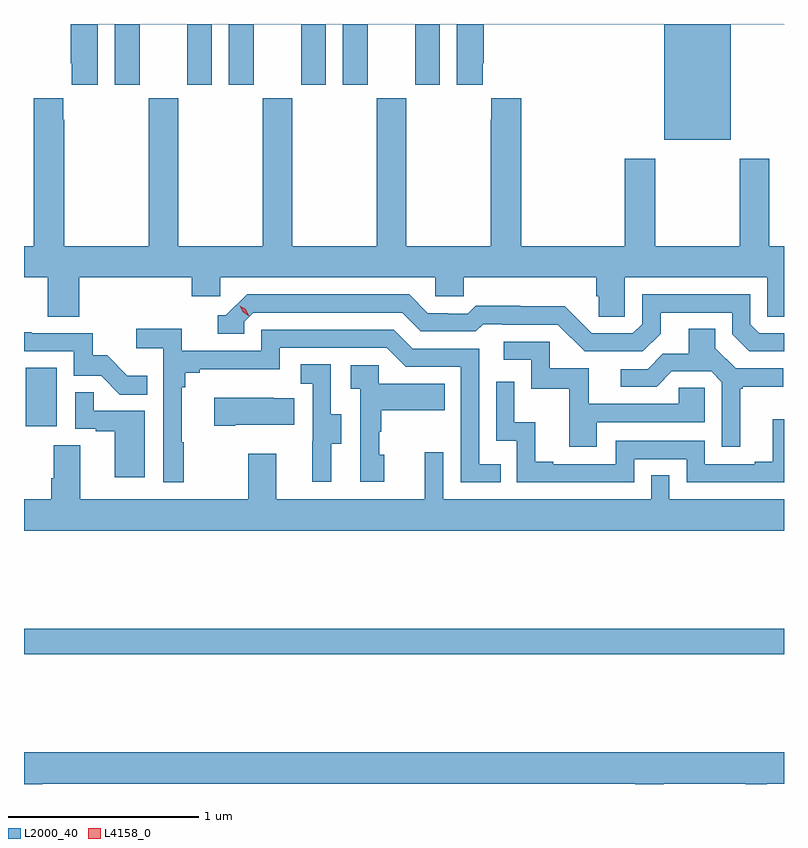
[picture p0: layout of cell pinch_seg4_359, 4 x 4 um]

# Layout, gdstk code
import gdstk
lib = gdstk.Library(unit=1e-6, precision=1e-09)
def R(c, l, rs):  # rectangles x0, y0, x1, y1
    for r in rs: c.add(gdstk.rectangle(r[:2], r[2:], *l))
def P(c, l, *ps):  # polygons
    for p in ps: c.add(gdstk.Polygon(p, *l))
L2000_40 = (2000, 40)
L4158_0 = (4158, 0)

pinch_seg4_359 = lib.new_cell('pinch_seg4_359')
R(pinch_seg4_359, L2000_40, [(975.833,792.172,979.833,792.308), (975.842,793.374,976.006,793.681)])
P(pinch_seg4_359, L2000_40, [(975.833,795.488),(976.079,795.488),(976.079,795.283),(976.085,795.283),(976.085,795.171),(976.222,795.171),(976.222,795.488),(976.31,795.488),(976.31,795.171),(976.441,795.171),(976.441,795.488),(976.691,795.488),(976.691,795.171),(976.822,795.171),(976.822,795.488),(976.91,795.488),(976.91,795.171),(977.041,795.171),(977.041,795.488),(977.291,795.488),(977.291,795.171),(977.422,795.171),(977.422,795.488),(977.51,795.488),(977.51,795.171),(977.641,795.171),(977.641,795.488),(977.891,795.488),(977.891,795.171),(978.022,795.171),(978.022,795.488),(978.11,795.488),(978.11,795.171),(978.247,795.171),(978.247,795.283),(978.254,795.283),(978.254,795.488),(979.202,795.488),(979.202,794.882),(979.552,794.882),(979.552,795.488),(979.833,795.488),(979.833,795.49),(975.833,795.49)],
  [(976.124,794.156),(976.715,794.156),(976.715,794.058),(976.866,794.058),(976.866,794.156),(977.997,794.156),(977.997,794.058),(978.147,794.058),(978.147,794.156),(978.845,794.156),(978.845,794.058),(978.859,794.058),(978.859,793.948),(978.996,793.948),(978.996,794.156),(979.746,794.156),(979.746,793.948),(979.833,793.948),(979.833,794.32),(979.755,794.32),(979.755,794.782),(979.6,794.782),(979.6,794.32),(979.155,794.32),(979.155,794.782),(978.995,794.782),(978.995,794.32),(978.449,794.32),(978.449,795.1),(978.293,795.1),(978.293,794.987),(978.289,794.987),(978.289,794.32),(977.844,794.32),(977.844,795.1),(977.689,795.1),(977.689,794.32),(977.244,794.32),(977.244,795.1),(977.089,795.1),(977.089,794.32),(976.644,794.32),(976.644,795.1),(976.489,795.1),(976.489,794.32),(976.044,794.32),(976.044,794.987),(976.039,794.987),(976.039,795.1),(975.884,795.1),(975.884,794.32),(975.833,794.32),(975.833,794.156),(975.959,794.156),(975.959,793.948),(976.124,793.948)],
  [(979.183,793.861),(979.183,793.971),(979.56,793.971),(979.56,793.857),(979.65,793.767),(979.833,793.767),(979.833,793.863),(979.704,793.863),(979.656,793.911),(979.656,794.067),(979.086,794.067),(979.086,793.911),(979.038,793.863),(978.822,793.863),(978.68,794.005),(978.444,794.005),(978.444,794.008),(978.211,794.008),(978.169,793.965),(978.066,793.965),(978.066,793.968),(977.959,793.968),(977.86,794.067),(977.007,794.067),(976.896,793.956),(976.853,793.956),(976.853,793.86),(976.992,793.86),(976.992,793.923),(977.04,793.971),(977.823,793.971),(977.922,793.872),(978.211,793.872),(978.25,793.911),(978.349,793.911),(978.349,793.908),(978.642,793.908),(978.783,793.767),(979.089,793.767)],
  [(976.675,793.289),(976.663,793.289),(976.663,793.577),(976.682,793.577),(976.682,793.654),(976.759,793.654),(976.759,793.673),(977.178,793.673),(977.178,793.785),(977.742,793.785),(977.841,793.686),(978.132,793.686),(978.132,793.077),(978.341,793.077),(978.341,793.173),(978.228,793.173),(978.228,793.782),(977.878,793.782),(977.779,793.881),(977.082,793.881),(977.082,793.77),(976.664,793.77),(976.664,793.886),(976.425,793.886),(976.425,793.784),(976.566,793.784),(976.566,793.077),(976.675,793.077)],
  [(979.603,793.569),(979.615,793.569),(979.615,793.58),(979.828,793.58),(979.828,793.677),(979.578,793.677),(979.471,793.784),(979.471,793.886),(979.331,793.886),(979.331,793.754),(979.196,793.754),(979.116,793.674),(978.975,793.674),(978.975,793.581),(979.162,793.581),(979.243,793.662),(979.449,793.662),(979.506,793.605),(979.506,793.266),(979.603,793.266)],
  [(976.481,793.639),(976.377,793.639),(976.27,793.746),(976.194,793.746),(976.194,793.863),(975.875,793.863),(975.875,793.868),(975.833,793.868),(975.833,793.767),(976.095,793.767),(976.095,793.638),(976.239,793.638),(976.337,793.54),(976.481,793.54)],
  [(978.847,793.395),(979.416,793.395),(979.416,793.575),(979.279,793.575),(979.279,793.491),(978.805,793.491),(978.805,793.677),(978.6,793.677),(978.6,793.818),(978.357,793.818),(978.357,793.722),(978.504,793.722),(978.504,793.569),(978.703,793.569),(978.703,793.266),(978.847,793.266)],
  [(977.449,793.282),(977.503,793.282),(977.503,793.437),(977.448,793.437),(977.448,793.7),(977.289,793.7),(977.289,793.597),(977.352,793.597),(977.352,793.293),(977.351,793.293),(977.351,793.08),(977.449,793.08)],
  [(977.728,793.224),(977.703,793.224),(977.703,793.343),(977.713,793.343),(977.713,793.457),(978.047,793.457),(978.047,793.597),(977.7,793.597),(977.7,793.695),(977.553,793.695),(977.553,793.571),(977.604,793.571),(977.604,793.08),(977.728,793.08)],
  [(979.044,793.2),(979.32,793.2),(979.32,793.077),(979.833,793.077),(979.833,793.411),(979.775,793.411),(979.775,793.186),(979.679,793.186),(979.679,793.173),(979.416,793.173),(979.416,793.296),(978.948,793.296),(978.948,793.173),(978.619,793.173),(978.619,793.186),(978.524,793.186),(978.524,793.394),(978.414,793.394),(978.414,793.606),(978.318,793.606),(978.318,793.296),(978.426,793.296),(978.426,793.077),(979.044,793.077)],
  [(976.468,793.455),(976.199,793.455),(976.199,793.553),(976.104,793.553),(976.104,793.359),(976.211,793.359),(976.211,793.347),(976.31,793.347),(976.31,793.104),(976.468,793.104)],
  [(976.945,793.382),(977.255,793.382),(977.255,793.519),(977.147,793.519),(977.147,793.522),(976.833,793.522),(976.833,793.375),(976.945,793.375)],
  [(979.833,792.988),(979.23,792.988),(979.23,793.115),(979.134,793.115),(979.134,792.988),(978.039,792.988),(978.039,793.237),(977.942,793.237),(977.942,792.988),(977.161,792.988),(977.161,793.228),(977.014,793.228),(977.014,792.988),(976.129,792.988),(976.129,793.274),(975.989,793.274),(975.989,793.1),(975.977,793.1),(975.977,792.988),(975.833,792.988),(975.833,792.824),(979.833,792.824)],
  [(975.929,791.492),(979.049,791.492),(979.049,791.49),(979.201,791.49),(979.201,791.492),(979.631,791.492),(979.631,791.49),(979.741,791.49),(979.741,791.492),(979.833,791.492),(979.833,791.656),(975.833,791.656),(975.833,791.49),(975.929,791.49)])
P(pinch_seg4_359, L4158_0, [(977.014,793.955),(976.984,793.975),(976.968,794.008),(976.968,794.008),(976.968,794.008),(976.999,793.988),(977.015,793.956),(977.015,793.955)])

lib.write_gds('pinch_seg4_359.gds')
